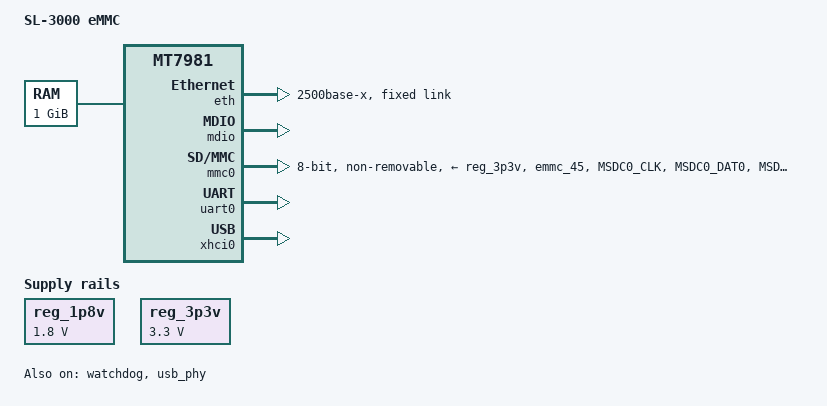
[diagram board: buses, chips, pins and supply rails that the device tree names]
/dts-v1/;
#include "mt7981.dtsi"
#include <dt-bindings/gpio/gpio.h>
#include <dt-bindings/pinctrl/mt65xx.h>

/ {
	model = "SL-3000 eMMC";
	compatible = "sl,3000-emmc", "mediatek,mt7981";

	aliases {
		ethernet0 = &eth;
	};

	chosen {
		bootargs = "console=ttyS0,115200n8 earlycon";
		stdout-path = "serial0:115200n8";
	};

	memory@40000000 {
		device_type = "memory";
		reg = <0 0x40000000 0 0x40000000>; /* 锁定 1024M DRAM */
	};

	reg_1p8v: regulator-1p8v {
		compatible = "regulator-fixed";
		regulator-name = "fixed-1.8V";
		regulator-min-microvolt = <1800000>;
		regulator-max-microvolt = <1800000>;
		regulator-always-on;
	};

	reg_3p3v: regulator-3p3v {
		compatible = "regulator-fixed";
		regulator-name = "fixed-3.3V";
		regulator-min-microvolt = <3300000>;
		regulator-max-microvolt = <3300000>;
		regulator-always-on;
	};
};

/* 物理修复：注入以太网节点，解决 eth0 报错 */
&eth {
	status = "okay";
	mediatek,gmac-id = <0>;
	phy-mode = "2500base-x"; /* SL3000 通常为 2.5G SGMII/2500Base-X */
	
	fixed-link {
		speed = <2500>;
		full-duplex;
		pause;
	};
};

&mdio {
	status = "okay";
};

&mmc0 {
	pinctrl-names = "default", "state_uhs";
	pinctrl-0 = <&mmc0_pins_default>;
	pinctrl-1 = <&mmc0_pins_uhs>;
	bus-width = <8>;
	max-frequency = <200000000>;
	cap-mmc-highspeed;
	mmc-hs200-1_8v;
	mmc-hs400-1_8v;
	hs400-ds-delay = <0x14014>;
	vmmc-supply = <&reg_3p3v>;
	vqmmc-supply = <&reg_1p8v>;
	non-removable;
	status = "okay";
};

&pio {
	mmc0_pins_default: mmc0-pins-default {
		mux {
			function = "flash";
			groups = "emmc_45";
		};
		conf {
			pins = "MSDC0_CLK";
			drive-strength = <MTK_DRIVE_10mA>;
		};
		conf-common {
			pins = "MSDC0_DAT0", "MSDC0_DAT1", "MSDC0_DAT2",
			       "MSDC0_DAT3", "MSDC0_DAT4", "MSDC0_DAT5",
			       "MSDC0_DAT6", "MSDC0_DAT7", "MSDC0_CMD", "MSDC0_DSL";
			input-enable;
			bias-pull-up = <MTK_PUPD_SET_R1R0_01>;
		};
	};

	mmc0_pins_uhs: mmc0-pins-uhs {
		mux {
			function = "flash";
			groups = "emmc_45";
		};
		conf {
			pins = "MSDC0_CLK";
			drive-strength = <MTK_DRIVE_10mA>;
		};
		conf-common {
			pins = "MSDC0_DAT0", "MSDC0_DAT1", "MSDC0_DAT2",
			       "MSDC0_DAT3", "MSDC0_DAT4", "MSDC0_DAT5",
			       "MSDC0_DAT6", "MSDC0_DAT7", "MSDC0_CMD", "MSDC0_DSL";
			input-enable;
			bias-pull-up = <MTK_PUPD_SET_R1R0_01>;
		};
	};
};

&uart0 {
	status = "okay";
};

&watchdog {
	status = "okay";
};

/* 补全 USB 支持，否则 SL3000 的 USB 接口将失效 */
&usb_phy {
	status = "okay";
};

&xhci0 {
	status = "okay";
};
